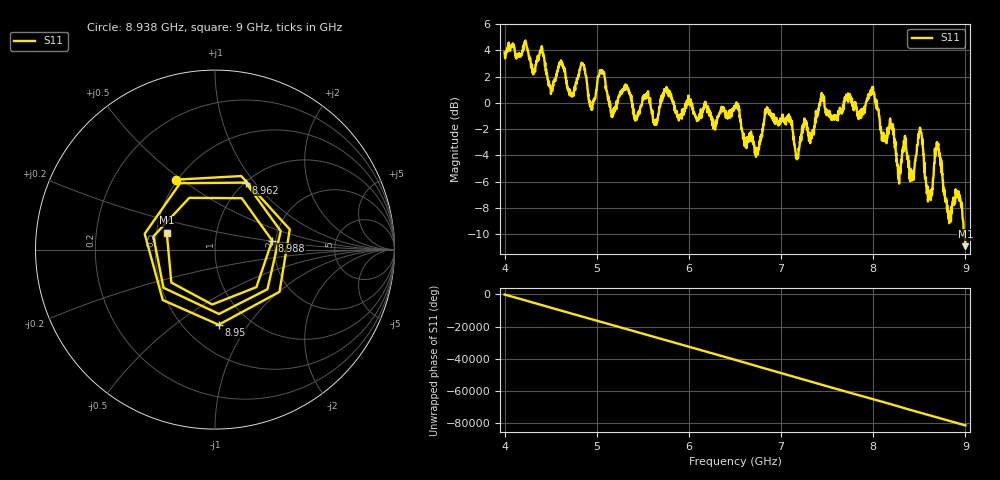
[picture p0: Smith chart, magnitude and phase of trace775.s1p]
! Created with skrf 1.8.0 (http://scikit-rf.org).
# Hz S RI R 50.0
!freq ReS11 ImS11
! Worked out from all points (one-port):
!   1601 points, 4 GHz to 9 GHz, reference 50 ohm
!   lowest |S11| = -10.9 dB at 9 GHz (marker M1), VSWR 1.80, Z = 28.4 + j5.82 ohm
!   |S11| at or under -10 dB: 8.989656 GHz to end of sweep
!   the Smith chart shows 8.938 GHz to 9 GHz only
!   S11 on the Smith chart (normalised r, x): 8.938 GHz: 0.49, +0.48; 8.95 GHz: 0.73, -0.74; 8.962 GHz: 1.01, +0.90; 8.988 GHz: 1.92, +0.21; 9 GHz: 0.57, +0.12
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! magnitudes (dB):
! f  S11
! 4 GHz  3.8
! 4.625 GHz  2.8
! 4.725 GHz  0.5
! 4.85 GHz  2.9
! 4.938 GHz  -0.3
! 5.056 GHz  2.5
! 5.162 GHz  -1.1
! 5.25 GHz  0.7
! 5.875 GHz  -0.9
! 6.5 GHz  -0.3
! 6.734 GHz  -3.4
! 6.85 GHz  -0.4
! 7.125 GHz  -2.1
! 7.175 GHz  -4.0
! 7.441 GHz  0.8
! 7.75 GHz  0.3
! 7.988 GHz  1.2
! 8.275 GHz  -5.8
! 8.375 GHz  -4.3
! 8.512 GHz  -2.0
! 8.6 GHz  -7.2
! 8.694 GHz  -3.5
! 8.819 GHz  -8.5
! 8.938 GHz  -7.0
! 8.95 GHz  -7.6
! 8.962 GHz  -7.7
! 8.988 GHz  -9.8
! 9 GHz  -10.9
